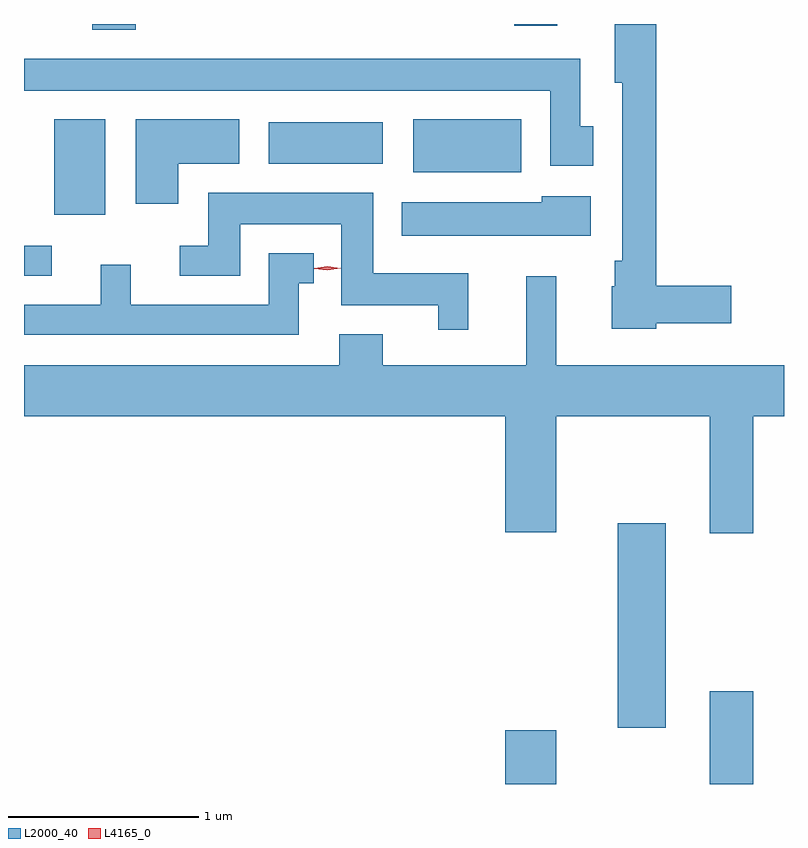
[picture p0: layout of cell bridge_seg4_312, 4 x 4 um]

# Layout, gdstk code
import gdstk
lib = gdstk.Library(unit=1e-6, precision=1e-09)
def R(c, l, rs):  # rectangles x0, y0, x1, y1
    for r in rs: c.add(gdstk.rectangle(r[:2], r[2:], *l))
def P(c, l, *ps):  # polygons
    for p in ps: c.add(gdstk.Polygon(p, *l))
L2000_40 = (2000, 40)
L4165_0 = (4165, 0)

bridge_seg4_312 = lib.new_cell('bridge_seg4_312')
R(bridge_seg4_312, L2000_40, [(534.756,1286.141,535.024,1286.424), (535.831,1286.141,536.059,1286.629), (535.346,1286.436,535.599,1287.514), (532.222,1288.816,532.368,1288.974), (532.381,1289.136,532.649,1289.639), (534.271,1289.361,534.839,1289.639), (533.511,1289.406,534.109,1289.624), (532.581,1290.111,532.809,1290.141), (534.801,1290.131,535.029,1290.141)])
P(bridge_seg4_312, L2000_40, [(535.549,1288.566),(535.944,1288.566),(535.944,1288.764),(535.549,1288.764),(535.549,1290.141),(535.331,1290.141),(535.331,1289.831),(535.371,1289.831),(535.371,1288.894),(535.331,1288.894),(535.331,1288.76),(535.316,1288.76),(535.316,1288.536),(535.549,1288.536)],
  [(535.219,1289.604),(535.149,1289.604),(535.149,1289.959),(532.222,1289.959),(532.222,1289.791),(534.991,1289.791),(534.991,1289.396),(535.219,1289.396)],
  [(533.034,1289.406),(533.354,1289.406),(533.354,1289.639),(532.811,1289.639),(532.811,1289.196),(533.034,1289.196)],
  [(534.559,1288.829),(534.059,1288.829),(534.059,1289.254),(533.191,1289.254),(533.191,1288.974),(533.043,1288.974),(533.043,1288.816),(533.359,1288.816),(533.359,1289.086),(533.891,1289.086),(533.891,1288.661),(534.401,1288.661),(534.401,1288.533),(534.559,1288.533)],
  [(535.204,1289.234),(534.946,1289.234),(534.946,1289.204),(534.211,1289.204),(534.211,1289.026),(535.204,1289.026)],
  [(533.669,1288.776),(533.748,1288.776),(533.748,1288.934),(533.511,1288.934),(533.511,1288.664),(532.784,1288.664),(532.784,1288.873),(532.626,1288.873),(532.626,1288.664),(532.222,1288.664),(532.222,1288.506),(533.669,1288.506)],
  [(534.109,1288.509),(533.881,1288.509),(533.881,1288.344),(532.222,1288.344),(532.222,1288.076),(534.756,1288.076),(534.756,1287.466),(535.024,1287.466),(535.024,1288.076),(535.831,1288.076),(535.831,1287.461),(536.059,1287.461),(536.059,1288.076),(536.222,1288.076),(536.222,1288.344),(535.024,1288.344),(535.024,1288.813),(534.866,1288.813),(534.866,1288.344),(534.109,1288.344)])
P(bridge_seg4_312, L4165_0, [(533.818,1288.846),(533.749,1288.854),(533.749,1288.855),(533.749,1288.856),(533.818,1288.865),(533.888,1288.856),(533.888,1288.856),(533.888,1288.855)])

lib.write_gds('bridge_seg4_312.gds')
